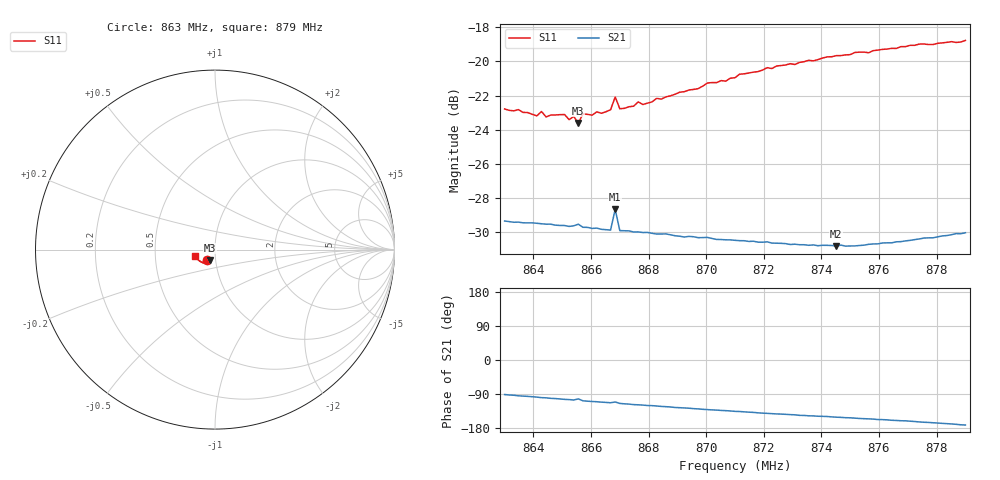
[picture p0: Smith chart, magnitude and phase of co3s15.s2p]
# HZ S RI R 50
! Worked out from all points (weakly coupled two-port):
!   101 points, 863 MHz to 879 MHz, reference 50 ohm
!   highest |S21| = -28.68 dB at 866.84 MHz (marker M1); lowest = -30.8 dB at 874.52 MHz (marker M2)
!   lowest |S11| = -23.6 dB at 865.56 MHz (marker M3), VSWR 1.14, Z = 46.7 - j5.49 ohm
!   |S11| at or under -10 dB: start of sweep to end of sweep
!   S12 and S22 are empty: the file has one direction only
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8.63e8  -0.0443 -0.0574  -0.000673 -0.034  0 0  0 0
8.6412e8  -0.0399 -0.0566  -0.00461 -0.0332  0 0  0 0
8.6428e8  -0.0406 -0.0586  -0.00541 -0.0329  0 0  0 0
8.6444e8  -0.0388 -0.0567  -0.00566 -0.0328  0 0  0 0
8.6508e8  -0.0383 -0.0584  -0.00789 -0.032  0 0  0 0
8.6524e8  -0.0367 -0.0566  -0.00819 -0.0317  0 0  0 0
8.654e8  -0.0368 -0.0583  -0.00882 -0.0317  0 0  0 0
8.6556e8  -0.0304 -0.0585  -0.00724 -0.0325  0 0  0 0
8.6572e8  -0.0369 -0.0597  -0.00989 -0.0311  0 0  0 0
8.6604e8  -0.0357 -0.0597  -0.0108 -0.0305  0 0  0 0
8.6668e8  -0.0362 -0.0624  -0.0124 -0.0295  0 0  0 0
8.6684e8  -0.0325 -0.0716  -0.0131 -0.0344  0 0  0 0
8.67e8  -0.037 -0.0625  -0.0132 -0.029  0 0  0 0
8.6764e8  -0.0379 -0.066  -0.0149 -0.0278  0 0  0 0
8.6844e8  -0.0388 -0.0671  -0.0167 -0.0263  0 0  0 0
8.7004e8  -0.0465 -0.0729  -0.0199 -0.023  0 0  0 0
8.71e8  -0.0514 -0.0734  -0.0213 -0.0209  0 0  0 0
8.7212e8  -0.0604 -0.0745  -0.0229 -0.0187  0 0  0 0
8.7372e8  -0.0705 -0.0715  -0.0244 -0.0155  0 0  0 0
8.7452e8  -0.0789 -0.0677  -0.0251 -0.0139  0 0  0 0
8.7644e8  -0.0924 -0.0583  -0.0274 -0.0105  0 0  0 0
8.79e8  -0.1087 -0.0382  -0.0311 -0.00462  0 0  0 0
